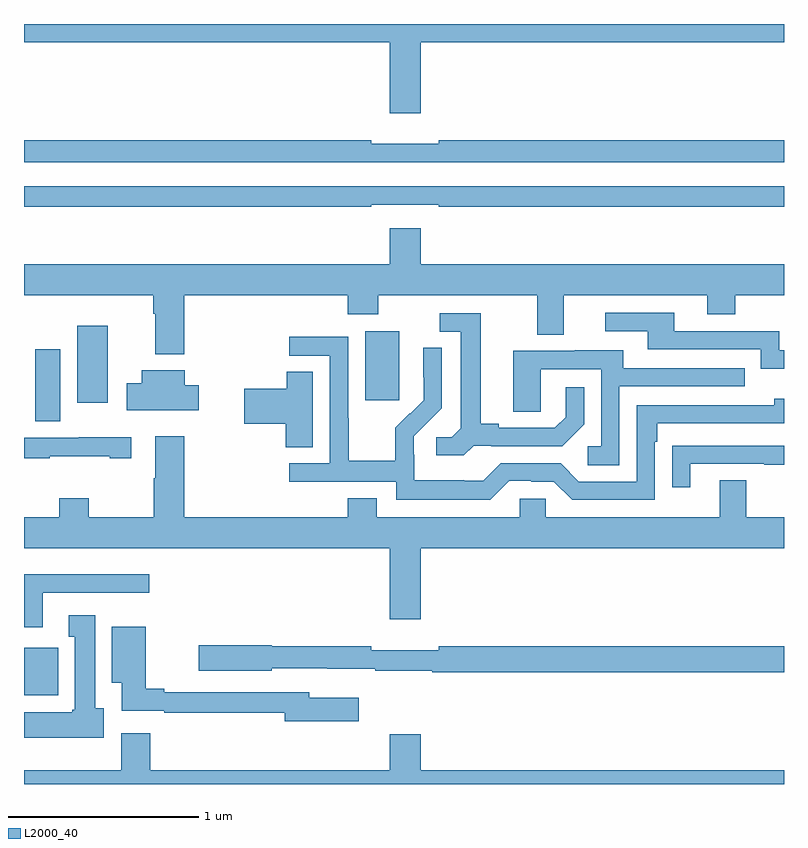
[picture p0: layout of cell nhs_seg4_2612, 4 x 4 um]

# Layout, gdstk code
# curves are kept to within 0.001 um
import gdstk
lib = gdstk.Library(unit=1e-6, precision=1e-09)
def R(c, l, rs):  # rectangles x0, y0, x1, y1
    for r in rs: c.add(gdstk.rectangle(r[:2], r[2:], *l))
def P(c, l, *ps):  # polygons
    for p in ps: c.add(gdstk.Polygon(p, *l))
L2000_40 = (2000, 40)

nhs_seg4_2612 = lib.new_cell('nhs_seg4_2612')
R(nhs_seg4_2612, L2000_40, [(247,809.366,247.179,809.617), (247.058,810.808,247.192,811.189), (247.28,810.906,247.441,811.312), (248.795,810.921,248.974,811.282)])
P(nhs_seg4_2612, L2000_40, [(249.088,812.804),(251,812.804),(251,812.9),(247,812.9),(247,812.804),(248.924,812.804),(248.924,812.43),(249.088,812.43)],
  [(251,812.288),(249.184,812.288),(249.184,812.269),(248.828,812.269),(248.828,812.288),(247,812.288),(247,812.172),(251,812.172)],
  [(248.828,811.95),(249.184,811.95),(249.184,811.938),(251,811.938),(251,812.046),(247,812.046),(247,811.938),(248.828,811.938)],
  [(247.844,811.472),(248.705,811.472),(248.705,811.373),(248.865,811.373),(248.865,811.472),(249.701,811.472),(249.701,811.264),(249.841,811.264),(249.841,811.472),(250.595,811.472),(250.595,811.373),(250.743,811.373),(250.743,811.472),(251,811.472),(251,811.636),(249.088,811.636),(249.088,811.825),(248.924,811.825),(248.924,811.636),(247,811.636),(247,811.472),(247.679,811.472),(247.679,811.376),(247.691,811.376),(247.691,811.163),(247.844,811.163)],
  [(251,811.182),(250.974,811.182),(250.974,811.284),(250.423,811.284),(250.423,811.38),(250.059,811.38),(250.059,811.284),(250.283,811.284),(250.283,811.188),(250.878,811.188),(250.878,811.085),(251,811.085)],
  [(249.366,810.681),(249.46,810.681),(249.46,810.678),(249.832,810.678),(249.948,810.794),(249.948,810.988),(249.851,810.988),(249.851,810.831),(249.794,810.774),(249.499,810.774),(249.499,810.797),(249.403,810.797),(249.403,811.377),(249.189,811.377),(249.189,811.281),(249.299,811.281),(249.299,810.773),(249.252,810.726),(249.171,810.726),(249.171,810.629),(249.314,810.629)],
  [(249.555,810.495),(249.671,810.495),(249.671,810.492),(249.789,810.492),(249.885,810.396),(250.32,810.396),(250.32,810.701),(250.333,810.701),(250.333,810.798),(251,810.798),(251,810.928),(250.949,810.928),(250.949,810.894),(250.224,810.894),(250.224,810.492),(249.921,810.492),(249.825,810.588),(249.51,810.588),(249.417,810.495),(249.317,810.495),(249.317,810.499),(249.054,810.499),(249.054,810.633),(249.052,810.633),(249.052,810.73),(249.198,810.878),(249.198,811.196),(249.102,811.196),(249.102,811.042),(249.104,811.042),(249.104,810.92),(249.033,810.849),(249.03,810.852),(248.953,810.775),(248.953,810.601),(248.709,810.601),(248.709,810.824),(248.706,810.824),(248.706,811.254),(248.397,811.254),(248.397,811.155),(248.61,811.155),(248.61,810.588),(248.397,810.588),(248.397,810.492),(248.958,810.492),(248.958,810.395),(249.455,810.395)],
  [(250.134,810.993),(250.793,810.993),(250.793,811.089),(250.153,811.089),(250.153,811.183),(249.899,811.183),(249.899,811.179),(249.575,811.179),(249.575,810.859),(249.72,810.859),(249.72,811.083),(250.038,811.083),(250.038,810.678),(249.966,810.678),(249.966,810.577),(250.134,810.577)],
  [(247.921,811),(247.846,811),(247.846,811.078),(247.619,811.078),(247.619,811.008),(247.541,811.008),(247.541,810.866),(247.921,810.866)],
  [(248.521,811.07),(248.383,811.07),(248.383,810.98),(248.16,810.98),(248.16,810.797),(248.378,810.797),(248.378,810.673),(248.521,810.673)],
  [(249.088,810.14),(251,810.14),(251,810.304),(250.801,810.304),(250.801,810.499),(250.661,810.499),(250.661,810.304),(249.747,810.304),(249.747,810.402),(249.609,810.402),(249.609,810.304),(248.857,810.304),(248.857,810.403),(248.705,810.403),(248.705,810.304),(247.844,810.304),(247.844,810.73),(247.691,810.73),(247.691,810.509),(247.684,810.509),(247.684,810.304),(247.341,810.304),(247.341,810.403),(247.186,810.403),(247.186,810.304),(247,810.304),(247,810.14),(248.924,810.14),(248.924,809.766),(249.088,809.766)],
  [(247.136,810.625),(247.451,810.625),(247.451,810.615),(247.564,810.615),(247.564,810.725),(247.288,810.725),(247.288,810.723),(247,810.723),(247,810.615),(247.136,810.615)],
  [(250.507,810.585),(250.897,810.585),(250.897,810.58),(251,810.58),(251,810.681),(250.513,810.681),(250.513,810.68),(250.411,810.68),(250.411,810.462),(250.507,810.462)],
  [(247.099,809.907),(247.66,809.907),(247.66,810.004),(247,810.004),(247,809.726),(247.099,809.726)],
  [(247.42,809.298),(247.375,809.298),(247.375,809.788),(247.235,809.788),(247.235,809.675),(247.268,809.675),(247.268,809.292),(247.255,809.292),(247.255,809.278),(247,809.278),(247,809.144),(247.42,809.144)],
  [(248.761,809.353),(248.5,809.353),(248.5,809.382),(247.738,809.382),(247.738,809.402),(247.642,809.402),(247.642,809.728),(247.463,809.728),(247.463,809.432),(247.514,809.432),(247.514,809.286),(247.738,809.286),(247.738,809.274),(248.372,809.274),(248.372,809.231),(248.761,809.231)],
  [(251,809.624),(249.184,809.624),(249.184,809.605),(248.828,809.605),(248.828,809.624),(248.304,809.624),(248.304,809.63),(247.92,809.63),(247.92,809.495),(248.304,809.495),(248.304,809.508),(248.596,809.508),(248.596,809.507),(248.848,809.507),(248.848,809.496),(249.148,809.496),(249.148,809.488),(251,809.488)],
  [(251,808.972),(249.088,808.972),(249.088,809.161),(248.924,809.161),(248.924,808.972),(247.664,808.972),(247.664,809.167),(247.511,809.167),(247.511,808.972),(247,808.972),(247,808.9),(251,808.9)])

lib.write_gds('nhs_seg4_2612.gds')
